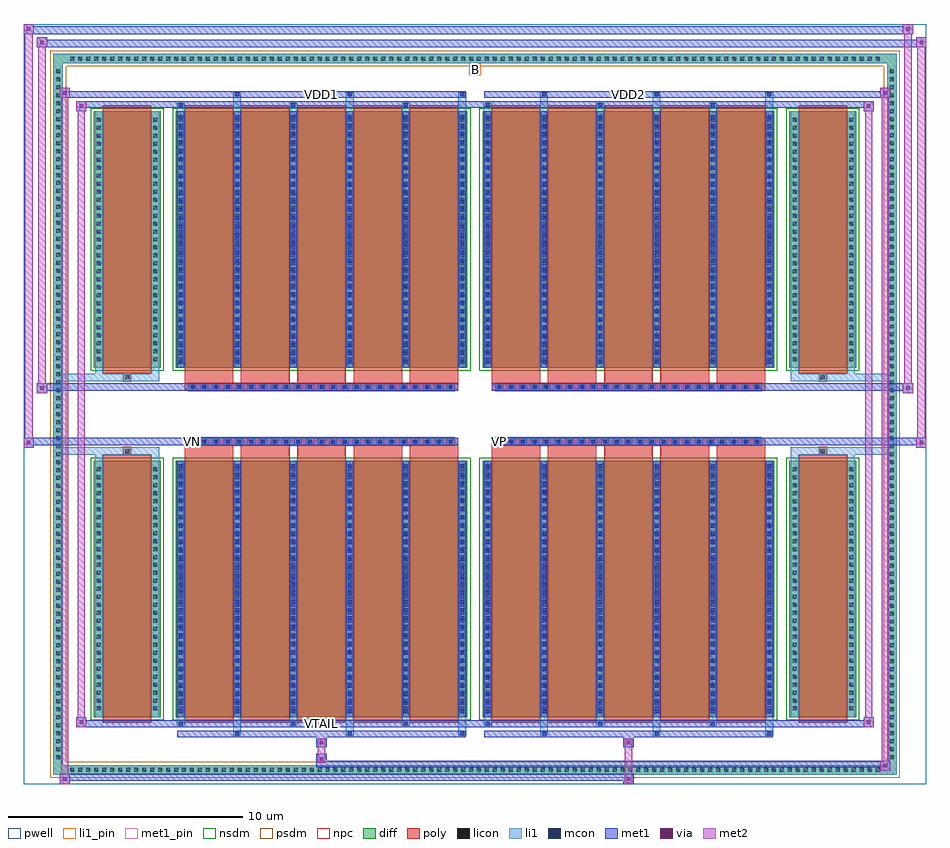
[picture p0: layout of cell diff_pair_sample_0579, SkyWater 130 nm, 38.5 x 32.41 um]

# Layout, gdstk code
import gdstk
lib = gdstk.Library(unit=1e-6, precision=5e-09)
def R(c, l, rs):  # rectangles x0, y0, x1, y1
    for r in rs: c.add(gdstk.rectangle(r[:2], r[2:], *l))
def A(c, l, x, y, w, h, nx, ny, dx, dy):  # array of equal rectangles
    R(c, l, [(x+i*dx, y+j*dy, x+i*dx+w, y+j*dy+h) for i in range(nx) for j in range(ny)])
def P(c, l, *ps):  # polygons
    for p in ps: c.add(gdstk.Polygon(p, *l))
pwell = (64, 44)
diff = (65, 20)
poly = (66, 20)
licon = (66, 44)
li1_pin = (67, 16)
li1 = (67, 20)
mcon = (67, 44)
met1_pin = (68, 16)
met1 = (68, 20)
via = (68, 44)
met2 = (69, 20)
nsdm = (93, 44)
psdm = (94, 20)
npc = (95, 20)

diff_pair_sample_0579 = lib.new_cell('diff_pair_sample_0579')
R(diff_pair_sample_0579, pwell, [(-19.25,-15.77,19.25,16.64), (-16.57,-13.96,-0.01,-0.8), (0.01,-13.96,16.57,-0.8), (-16.57,0.8,-0.01,13.96), (0.01,0.8,16.57,13.96)])
A(diff_pair_sample_0579, diff, -17.375, -15.37, 0.41, 0.41, 102, 2, 0.34, 30.33)
A(diff_pair_sample_0579, diff, -17.98, -14.825, 0.41, 0.41, 1, 87, 0, 0.34)
A(diff_pair_sample_0579, diff, 17.57, -14.825, 0.41, 0.41, 1, 87, 0, 0.34)
R(diff_pair_sample_0579, diff, [(-17.375,-15.37,17.375,-14.96), (-17.98,-14.825,-17.57,14.825), (17.57,-14.825,17.98,14.825), (-16.26,-12.915,-13.41,-1.985), (-12.77,-12.915,-0.32,-1.985), (0.32,-12.915,12.77,-1.985), (13.41,-12.915,16.26,-1.985), (-16.26,1.985,-13.41,12.915), (-12.77,1.985,-0.32,12.915), (0.32,1.985,12.77,12.915), (13.41,1.985,16.26,12.915), (-17.375,14.96,17.375,15.37)])
P(diff_pair_sample_0579, diff, [(17.98,15.37),(-17.98,15.37),(-17.98,-14.96),(-17.57,-14.96),(-17.57,14.96),(17.57,14.96),(17.57,-14.96),(-17.57,-14.96),(-17.98,-14.96),(-17.98,-15.37),(17.98,-15.37)])
A(diff_pair_sample_0579, poly, -12.38, -13.165, 2.07, 11.43, 5, 2, 2.4, 14.9)
A(diff_pair_sample_0579, poly, 0.71, -13.165, 2.07, 11.43, 5, 2, 2.4, 14.9)
A(diff_pair_sample_0579, poly, -12.38, -1.735, 2.07, 0.405, 5, 2, 2.4, 3.065)
A(diff_pair_sample_0579, poly, 0.71, -1.735, 2.07, 0.405, 5, 2, 2.4, 3.065)
A(diff_pair_sample_0579, poly, -12.21, -1.33, 0.33, 0.33, 23, 2, 0.5, 2.33)
A(diff_pair_sample_0579, poly, 0.88, -1.33, 0.33, 0.33, 23, 2, 0.5, 2.33)
R(diff_pair_sample_0579, poly, [(-15.87,-13.165,-13.8,-1.735), (13.8,-13.165,15.87,-1.735), (-15,-1.735,-14.67,-1.405), (-15,-1.735,-14.67,-1.405), (14.67,-1.735,15,-1.405), (14.67,-1.735,15,-1.405), (-12.38,-1.33,-0.71,-1), (0.71,-1.33,12.38,-1), (-12.38,1,-0.71,1.33), (0.71,1,12.38,1.33), (-15,1.405,-14.67,1.735), (-15,1.405,-14.67,1.735), (14.67,1.405,15,1.735), (14.67,1.405,15,1.735), (-15.87,1.735,-13.8,13.165), (13.8,1.735,15.87,13.165)])
A(diff_pair_sample_0579, licon, -17.255, -15.25, 0.17, 0.17, 102, 2, 0.34, 30.33)
A(diff_pair_sample_0579, licon, -17.86, -14.705, 0.17, 0.17, 1, 87, 0, 0.34)
A(diff_pair_sample_0579, licon, 17.69, -14.705, 0.17, 0.17, 1, 87, 0, 0.34)
A(diff_pair_sample_0579, licon, -16.12, -12.635, 0.17, 0.17, 1, 31, 0, 0.34)
A(diff_pair_sample_0579, licon, -13.72, -12.635, 0.17, 0.17, 1, 31, 0, 0.34)
A(diff_pair_sample_0579, licon, -12.63, -12.635, 0.17, 0.17, 6, 31, 2.4, 0.34)
A(diff_pair_sample_0579, licon, 0.46, -12.635, 0.17, 0.17, 6, 31, 2.4, 0.34)
A(diff_pair_sample_0579, licon, 13.55, -12.635, 0.17, 0.17, 1, 31, 0, 0.34)
A(diff_pair_sample_0579, licon, 15.95, -12.635, 0.17, 0.17, 1, 31, 0, 0.34)
A(diff_pair_sample_0579, licon, -12.13, -1.25, 0.17, 0.17, 23, 2, 0.5, 2.33)
A(diff_pair_sample_0579, licon, 0.96, -1.25, 0.17, 0.17, 23, 2, 0.5, 2.33)
A(diff_pair_sample_0579, licon, -16.12, 2.265, 0.17, 0.17, 1, 31, 0, 0.34)
A(diff_pair_sample_0579, licon, -13.72, 2.265, 0.17, 0.17, 1, 31, 0, 0.34)
A(diff_pair_sample_0579, licon, -12.63, 2.265, 0.17, 0.17, 6, 31, 2.4, 0.34)
A(diff_pair_sample_0579, licon, 0.46, 2.265, 0.17, 0.17, 6, 31, 2.4, 0.34)
A(diff_pair_sample_0579, licon, 13.55, 2.265, 0.17, 0.17, 1, 31, 0, 0.34)
A(diff_pair_sample_0579, licon, 15.95, 2.265, 0.17, 0.17, 1, 31, 0, 0.34)
R(diff_pair_sample_0579, licon, [(-14.92,-1.655,-14.75,-1.485), (14.75,-1.655,14.92,-1.485), (-14.92,1.485,-14.75,1.655), (14.75,1.485,14.92,1.655)])
R(diff_pair_sample_0579, li1_pin, [(-0.25,14.46,0.25,14.96)])
A(diff_pair_sample_0579, li1, -17.335, -15.33, 0.33, 0.33, 102, 2, 0.34, 30.33)
A(diff_pair_sample_0579, li1, -17.94, -14.785, 0.33, 0.33, 1, 87, 0, 0.34)
A(diff_pair_sample_0579, li1, 17.61, -14.785, 0.33, 0.33, 1, 87, 0, 0.34)
A(diff_pair_sample_0579, li1, -10.31, -13.72, 0.33, 0.805, 3, 2, 4.8, 26.635)
A(diff_pair_sample_0579, li1, -10.23, -13.72, 0.17, 0.17, 3, 2, 4.8, 27.27)
A(diff_pair_sample_0579, li1, 2.78, -13.72, 0.33, 0.805, 3, 2, 4.8, 26.635)
A(diff_pair_sample_0579, li1, 2.86, -13.72, 0.17, 0.17, 3, 2, 4.8, 27.27)
A(diff_pair_sample_0579, li1, -12.71, -13.29, 0.33, 0.375, 3, 2, 4.8, 26.205)
A(diff_pair_sample_0579, li1, -12.63, -13.29, 0.17, 0.17, 3, 2, 4.8, 26.41)
A(diff_pair_sample_0579, li1, 0.38, -13.29, 0.33, 0.375, 3, 2, 4.8, 26.205)
A(diff_pair_sample_0579, li1, 0.46, -13.29, 0.17, 0.17, 3, 2, 4.8, 26.41)
A(diff_pair_sample_0579, li1, -12.71, -12.915, 0.33, 10.93, 6, 2, 2.4, 14.9)
A(diff_pair_sample_0579, li1, 0.38, -12.915, 0.33, 10.93, 6, 2, 2.4, 14.9)
A(diff_pair_sample_0579, li1, -12.63, -12.755, 0.17, 0.17, 6, 30, 2.4, 0.36)
A(diff_pair_sample_0579, li1, -12.63, -12.755, 0.17, 10.61, 6, 2, 2.4, 14.9)
A(diff_pair_sample_0579, li1, 0.46, -12.755, 0.17, 0.17, 6, 30, 2.4, 0.36)
A(diff_pair_sample_0579, li1, 0.46, -12.755, 0.17, 10.61, 6, 2, 2.4, 14.9)
A(diff_pair_sample_0579, li1, -16.2, -12.715, 0.33, 0.33, 1, 31, 0, 0.34)
A(diff_pair_sample_0579, li1, -13.8, -12.715, 0.33, 0.33, 1, 31, 0, 0.34)
A(diff_pair_sample_0579, li1, -12.71, -12.715, 0.33, 0.33, 6, 31, 2.4, 0.34)
A(diff_pair_sample_0579, li1, 0.38, -12.715, 0.33, 0.33, 6, 31, 2.4, 0.34)
A(diff_pair_sample_0579, li1, 13.47, -12.715, 0.33, 0.33, 1, 31, 0, 0.34)
A(diff_pair_sample_0579, li1, 15.87, -12.715, 0.33, 0.33, 1, 31, 0, 0.34)
A(diff_pair_sample_0579, li1, -12.21, -1.33, 0.33, 0.33, 23, 2, 0.5, 2.33)
A(diff_pair_sample_0579, li1, 0.88, -1.33, 0.33, 0.33, 23, 2, 0.5, 2.33)
A(diff_pair_sample_0579, li1, -12.63, 2.145, 0.17, 0.17, 6, 30, 2.4, 0.36)
A(diff_pair_sample_0579, li1, 0.46, 2.145, 0.17, 0.17, 6, 30, 2.4, 0.36)
A(diff_pair_sample_0579, li1, -16.2, 2.185, 0.33, 0.33, 1, 31, 0, 0.34)
A(diff_pair_sample_0579, li1, -13.8, 2.185, 0.33, 0.33, 1, 31, 0, 0.34)
A(diff_pair_sample_0579, li1, -12.71, 2.185, 0.33, 0.33, 6, 31, 2.4, 0.34)
A(diff_pair_sample_0579, li1, 0.38, 2.185, 0.33, 0.33, 6, 31, 2.4, 0.34)
A(diff_pair_sample_0579, li1, 13.47, 2.185, 0.33, 0.33, 1, 31, 0, 0.34)
A(diff_pair_sample_0579, li1, 15.87, 2.185, 0.33, 0.33, 1, 31, 0, 0.34)
R(diff_pair_sample_0579, li1, [(-17.98,-15.37,-17.57,-14.96), (-17.98,-15.37,-17.57,-14.96), (-17.57,-15.37,17.57,-14.96), (17.57,-15.37,17.98,-14.96), (17.57,-15.37,17.98,-14.96), (-17.98,-14.96,-17.57,14.96), (17.57,-14.96,17.98,14.96), (-16.2,-12.915,-15.87,-1.985), (-13.8,-12.915,-13.47,-1.985), (13.47,-12.915,13.8,-1.985), (15.87,-12.915,16.2,-1.985), (-16.2,-1.985,-15.87,-1.405), (-13.8,-1.985,-13.47,-1.405), (13.47,-1.985,13.8,-1.405), (15.87,-1.985,16.2,-1.405), (-17.98,-1.735,-15,-1.405), (-16.2,-1.735,-15,-1.405), (-15,-1.735,-14.67,-1.405), (-14.67,-1.735,-13.47,-1.405), (13.47,-1.735,14.67,-1.405), (14.67,-1.735,15,-1.405), (14.67,-1.735,17.98,-1.405), (15,-1.735,16.2,-1.405), (-17.98,1.405,-15,1.735), (-16.2,1.405,-15,1.735), (-16.2,1.405,-15.87,1.985), (-15,1.405,-14.67,1.735), (-14.67,1.405,-13.47,1.735), (-13.8,1.405,-13.47,1.985), (13.47,1.405,14.67,1.735), (13.47,1.405,13.8,1.985), (14.67,1.405,15,1.735), (14.67,1.405,17.98,1.735), (15,1.405,16.2,1.735), (15.87,1.405,16.2,1.985), (-16.2,1.985,-15.87,12.915), (-13.8,1.985,-13.47,12.915), (13.47,1.985,13.8,12.915), (15.87,1.985,16.2,12.915), (-17.98,14.96,-17.57,15.37), (-17.98,14.96,-17.57,15.37), (-17.57,14.96,17.57,15.37), (17.57,14.96,17.98,15.37), (17.57,14.96,17.98,15.37)])
A(diff_pair_sample_0579, mcon, -10.23, -13.72, 0.17, 0.17, 3, 2, 4.8, 27.27)
A(diff_pair_sample_0579, mcon, 2.86, -13.72, 0.17, 0.17, 3, 2, 4.8, 27.27)
A(diff_pair_sample_0579, mcon, -12.63, -13.29, 0.17, 0.17, 3, 2, 4.8, 26.41)
A(diff_pair_sample_0579, mcon, 0.46, -13.29, 0.17, 0.17, 3, 2, 4.8, 26.41)
A(diff_pair_sample_0579, mcon, -12.63, -12.755, 0.17, 0.17, 6, 30, 2.4, 0.36)
A(diff_pair_sample_0579, mcon, 0.46, -12.755, 0.17, 0.17, 6, 30, 2.4, 0.36)
A(diff_pair_sample_0579, mcon, -12.13, -1.25, 0.17, 0.17, 23, 2, 0.5, 2.33)
A(diff_pair_sample_0579, mcon, 0.96, -1.25, 0.17, 0.17, 23, 2, 0.5, 2.33)
A(diff_pair_sample_0579, mcon, -12.63, 2.145, 0.17, 0.17, 6, 30, 2.4, 0.36)
A(diff_pair_sample_0579, mcon, 0.46, 2.145, 0.17, 0.17, 6, 30, 2.4, 0.36)
R(diff_pair_sample_0579, met1_pin, [(-6.68,-13.33,-6.41,-13.06), (-12.18,-1.29,-11.91,-1.02), (0.91,-1.29,1.18,-1.02), (-6.68,13.51,-6.41,13.78), (6.41,13.51,6.68,13.78)])
A(diff_pair_sample_0579, met1, -10.29, -13.78, 0.29, 0.29, 3, 2, 4.8, 27.27)
A(diff_pair_sample_0579, met1, 2.8, -13.78, 0.29, 0.29, 3, 2, 4.8, 27.27)
A(diff_pair_sample_0579, met1, -12.69, -13.35, 0.29, 0.29, 3, 2, 4.8, 26.41)
A(diff_pair_sample_0579, met1, 0.4, -13.35, 0.29, 0.29, 3, 2, 4.8, 26.41)
A(diff_pair_sample_0579, met1, -12.69, -12.915, 0.29, 10.93, 6, 2, 2.4, 14.9)
A(diff_pair_sample_0579, met1, 0.4, -12.915, 0.29, 10.93, 6, 2, 2.4, 14.9)
A(diff_pair_sample_0579, met1, -12.69, -12.815, 0.29, 0.29, 6, 30, 2.4, 0.36)
A(diff_pair_sample_0579, met1, 0.4, -12.815, 0.29, 0.29, 6, 30, 2.4, 0.36)
A(diff_pair_sample_0579, met1, -12.19, -1.31, 0.29, 0.29, 23, 2, 0.5, 2.33)
A(diff_pair_sample_0579, met1, 0.9, -1.31, 0.29, 0.29, 23, 2, 0.5, 2.33)
A(diff_pair_sample_0579, met1, -12.69, 2.085, 0.29, 0.29, 6, 30, 2.4, 0.36)
A(diff_pair_sample_0579, met1, 0.4, 2.085, 0.29, 0.29, 6, 30, 2.4, 0.36)
R(diff_pair_sample_0579, met1, [(-17.71,-15.77,-17.28,-15.34), (6.33,-15.77,6.76,-15.34), (-17.71,-15.63,6.76,-15.34), (17.28,-15.2,17.71,-14.77), (-6.76,-15.06,17.71,-14.77), (-6.76,-14.92,-6.33,-14.49), (-6.76,-14.21,-6.33,-13.78), (6.33,-14.21,6.76,-13.78), (-12.69,-13.78,-0.4,-13.49), (0.4,-13.78,12.69,-13.49), (-17,-13.35,-16.57,-12.92), (-17,-13.35,-12.69,-13.06), (-12.69,-13.35,-0.4,-13.06), (-0.4,-13.35,0.4,-13.06), (0.4,-13.35,12.69,-13.06), (12.69,-13.35,17,-13.06), (16.57,-13.35,17,-12.92), (-19.25,-1.43,-18.82,-1), (18.82,-1.43,19.25,-1), (-19.25,-1.33,-0.71,-1), (-12.38,-1.33,-0.71,-1), (0.71,-1.33,12.38,-1), (0.71,-1.33,19.25,-1), (-18.68,0.9,-18.25,1.33), (18.25,0.9,18.68,1.33), (-18.68,1,-12.38,1.33), (-12.38,1,-0.71,1.33), (0.71,1,12.38,1.33), (12.38,1,18.68,1.33), (-17,12.92,-16.57,13.35), (16.57,12.92,17,13.35), (-17,13.06,-12.69,13.35), (-12.69,13.06,-0.4,13.35), (-0.4,13.06,0.4,13.35), (0.4,13.06,12.69,13.35), (12.69,13.06,17,13.35), (-17.71,13.49,-17.28,13.92), (-17.71,13.49,-12.69,13.78), (-12.69,13.49,-0.4,13.78), (0.4,13.49,12.69,13.78), (12.69,13.49,17.71,13.78), (17.28,13.49,17.71,13.92), (-18.68,15.64,-18.25,16.07), (-18.68,15.64,-16.57,15.97), (-16.57,15.64,16.57,15.97), (16.57,15.64,19.25,15.97), (18.82,15.64,19.25,16.07), (-19.25,16.21,-18.82,16.64), (-19.25,16.21,-16.57,16.54), (-16.57,16.21,16.57,16.54), (16.57,16.21,18.68,16.54), (18.25,16.21,18.68,16.64)])
R(diff_pair_sample_0579, via, [(-17.57,-15.63,-17.42,-15.48), (6.47,-15.63,6.62,-15.48), (17.42,-15.06,17.57,-14.91), (-6.62,-14.78,-6.47,-14.63), (-6.62,-14.07,-6.47,-13.92), (6.47,-14.07,6.62,-13.92), (-16.86,-13.21,-16.71,-13.06), (16.71,-13.21,16.86,-13.06), (-19.11,-1.29,-18.96,-1.14), (18.96,-1.29,19.11,-1.14), (-18.54,1.04,-18.39,1.19), (18.39,1.04,18.54,1.19), (-16.86,13.06,-16.71,13.21), (16.71,13.06,16.86,13.21), (-17.57,13.63,-17.42,13.78), (17.42,13.63,17.57,13.78), (-18.54,15.78,-18.39,15.93), (18.96,15.78,19.11,15.93), (-19.11,16.35,-18.96,16.5), (18.39,16.35,18.54,16.5)])
R(diff_pair_sample_0579, met2, [(-17.71,-15.77,-17.28,-15.34), (-17.64,-15.77,-17.35,13.92), (-17.35,-15.77,-17.28,-15.34), (-17.66,-15.72,-17.33,-15.39), (6.38,-15.72,6.71,-15.39), (6.38,-15.39,6.71,-14.16), (17.28,-15.2,17.71,-14.77), (17.35,-15.2,17.64,13.92), (17.64,-15.2,17.71,-14.77), (17.33,-15.15,17.66,-14.82), (-6.71,-14.87,-6.38,-14.54), (-6.71,-14.54,-6.38,-14.16), (-6.71,-14.16,-6.38,-13.83), (6.38,-14.16,6.71,-13.83), (-17,-13.35,-16.57,-12.92), (-16.93,-13.35,-16.64,13.35), (-16.64,-13.35,-16.57,-12.92), (16.57,-13.35,17,-12.92), (16.64,-13.35,16.93,13.35), (16.93,-13.35,17,-12.92), (-16.95,-13.3,-16.62,-12.97), (16.62,-13.3,16.95,-12.97), (-19.25,-1.43,-18.82,-1), (-19.2,-1.43,-18.87,16.64), (-18.87,-1.43,-18.82,-1), (18.82,-1.43,19.25,-1), (18.87,-1.43,19.2,16.07), (19.2,-1.43,19.25,-1), (-19.2,-1.38,-18.87,-1.05), (18.87,-1.38,19.2,-1.05), (-18.68,0.9,-18.25,1.33), (-18.63,0.9,-18.3,16.07), (-18.3,0.9,-18.25,1.33), (18.25,0.9,18.68,1.33), (18.3,0.9,18.63,16.64), (18.63,0.9,18.68,1.33), (-18.63,0.95,-18.3,1.28), (18.3,0.95,18.63,1.28), (-17,12.92,-16.57,13.35), (-16.64,12.92,-16.57,13.35), (16.57,12.92,17,13.35), (16.93,12.92,17,13.35), (-16.95,12.97,-16.62,13.3), (16.62,12.97,16.95,13.3), (-17.71,13.49,-17.28,13.92), (-17.35,13.49,-17.28,13.92), (17.28,13.49,17.71,13.92), (17.64,13.49,17.71,13.92), (-17.66,13.54,-17.33,13.87), (17.33,13.54,17.66,13.87), (-18.68,15.64,-18.25,16.07), (-18.3,15.64,-18.25,16.07), (18.82,15.64,19.25,16.07), (19.2,15.64,19.25,16.07), (-18.63,15.69,-18.3,16.02), (18.87,15.69,19.2,16.02), (-19.25,16.21,-18.82,16.64), (-18.87,16.21,-18.82,16.64), (18.25,16.21,18.68,16.64), (18.63,16.21,18.68,16.64), (-19.2,16.26,-18.87,16.59), (18.3,16.26,18.63,16.59)])
R(diff_pair_sample_0579, nsdm, [(-16.39,-13.045,-13.28,-1.855), (-12.9,-13.045,-0.19,-1.855), (0.19,-13.045,12.9,-1.855), (13.28,-13.045,16.39,-1.855), (-16.39,1.855,-13.28,13.045), (-12.9,1.855,-0.19,13.045), (0.19,1.855,12.9,13.045), (13.28,1.855,16.39,13.045)])
P(diff_pair_sample_0579, psdm, [(18.11,15.5),(-18.11,15.5),(-18.11,-14.83),(-17.44,-14.83),(-17.44,14.83),(17.44,14.83),(17.44,-14.83),(-17.44,-14.83),(-18.11,-14.83),(-18.11,-15.5),(18.11,-15.5)])
A(diff_pair_sample_0579, npc, -12.23, -1.35, 0.37, 0.37, 23, 2, 0.5, 2.33)
A(diff_pair_sample_0579, npc, 0.86, -1.35, 0.37, 0.37, 23, 2, 0.5, 2.33)
R(diff_pair_sample_0579, npc, [(-15.02,-1.755,-14.65,-1.385), (14.65,-1.755,15.02,-1.385), (-12.23,-1.35,-11.36,-0.98), (-12.23,-1.35,-11.36,-0.98), (-11.73,-1.35,-10.86,-0.98), (-11.73,-1.35,-10.86,-0.98), (-11.23,-1.35,-10.36,-0.98), (-11.23,-1.35,-10.36,-0.98), (-10.73,-1.35,-9.86,-0.98), (-10.73,-1.35,-9.86,-0.98), (-10.23,-1.35,-9.36,-0.98), (-10.23,-1.35,-9.36,-0.98), (-9.73,-1.35,-8.86,-0.98), (-9.73,-1.35,-8.86,-0.98), (-9.23,-1.35,-8.36,-0.98), (-9.23,-1.35,-8.36,-0.98), (-8.73,-1.35,-7.86,-0.98), (-8.73,-1.35,-7.86,-0.98), (-8.23,-1.35,-7.36,-0.98), (-8.23,-1.35,-7.36,-0.98), (-7.73,-1.35,-6.86,-0.98), (-7.73,-1.35,-6.86,-0.98), (-7.23,-1.35,-6.36,-0.98), (-7.23,-1.35,-6.36,-0.98), (-6.73,-1.35,-5.86,-0.98), (-6.73,-1.35,-5.86,-0.98), (-6.23,-1.35,-5.36,-0.98), (-6.23,-1.35,-5.36,-0.98), (-5.73,-1.35,-4.86,-0.98), (-5.73,-1.35,-4.86,-0.98), (-5.23,-1.35,-4.36,-0.98), (-5.23,-1.35,-4.36,-0.98), (-4.73,-1.35,-3.86,-0.98), (-4.73,-1.35,-3.86,-0.98), (-4.23,-1.35,-3.36,-0.98), (-4.23,-1.35,-3.36,-0.98), (-3.73,-1.35,-2.86,-0.98), (-3.73,-1.35,-2.86,-0.98), (-3.23,-1.35,-2.36,-0.98), (-3.23,-1.35,-2.36,-0.98), (-2.73,-1.35,-1.86,-0.98), (-2.73,-1.35,-1.86,-0.98), (-2.23,-1.35,-1.36,-0.98), (-2.23,-1.35,-1.36,-0.98), (-1.73,-1.35,-0.86,-0.98), (-1.73,-1.35,-0.86,-0.98), (0.86,-1.35,1.73,-0.98), (0.86,-1.35,1.73,-0.98), (1.36,-1.35,2.23,-0.98), (1.36,-1.35,2.23,-0.98), (1.86,-1.35,2.73,-0.98), (1.86,-1.35,2.73,-0.98), (2.36,-1.35,3.23,-0.98), (2.36,-1.35,3.23,-0.98), (2.86,-1.35,3.73,-0.98), (2.86,-1.35,3.73,-0.98), (3.36,-1.35,4.23,-0.98), (3.36,-1.35,4.23,-0.98), (3.86,-1.35,4.73,-0.98), (3.86,-1.35,4.73,-0.98), (4.36,-1.35,5.23,-0.98), (4.36,-1.35,5.23,-0.98), (4.86,-1.35,5.73,-0.98), (4.86,-1.35,5.73,-0.98), (5.36,-1.35,6.23,-0.98), (5.36,-1.35,6.23,-0.98), (5.86,-1.35,6.73,-0.98), (5.86,-1.35,6.73,-0.98), (6.36,-1.35,7.23,-0.98), (6.36,-1.35,7.23,-0.98), (6.86,-1.35,7.73,-0.98), (6.86,-1.35,7.73,-0.98), (7.36,-1.35,8.23,-0.98), (7.36,-1.35,8.23,-0.98), (7.86,-1.35,8.73,-0.98), (7.86,-1.35,8.73,-0.98), (8.36,-1.35,9.23,-0.98), (8.36,-1.35,9.23,-0.98), (8.86,-1.35,9.73,-0.98), (8.86,-1.35,9.73,-0.98), (9.36,-1.35,10.23,-0.98), (9.36,-1.35,10.23,-0.98), (9.86,-1.35,10.73,-0.98), (9.86,-1.35,10.73,-0.98), (10.36,-1.35,11.23,-0.98), (10.36,-1.35,11.23,-0.98), (10.86,-1.35,11.73,-0.98), (10.86,-1.35,11.73,-0.98), (11.36,-1.35,12.23,-0.98), (11.36,-1.35,12.23,-0.98), (-12.23,0.98,-11.36,1.35), (-12.23,0.98,-11.36,1.35), (-11.73,0.98,-10.86,1.35), (-11.73,0.98,-10.86,1.35), (-11.23,0.98,-10.36,1.35), (-11.23,0.98,-10.36,1.35), (-10.73,0.98,-9.86,1.35), (-10.73,0.98,-9.86,1.35), (-10.23,0.98,-9.36,1.35), (-10.23,0.98,-9.36,1.35), (-9.73,0.98,-8.86,1.35), (-9.73,0.98,-8.86,1.35), (-9.23,0.98,-8.36,1.35), (-9.23,0.98,-8.36,1.35), (-8.73,0.98,-7.86,1.35), (-8.73,0.98,-7.86,1.35), (-8.23,0.98,-7.36,1.35), (-8.23,0.98,-7.36,1.35), (-7.73,0.98,-6.86,1.35), (-7.73,0.98,-6.86,1.35), (-7.23,0.98,-6.36,1.35), (-7.23,0.98,-6.36,1.35), (-6.73,0.98,-5.86,1.35), (-6.73,0.98,-5.86,1.35), (-6.23,0.98,-5.36,1.35), (-6.23,0.98,-5.36,1.35), (-5.73,0.98,-4.86,1.35), (-5.73,0.98,-4.86,1.35), (-5.23,0.98,-4.36,1.35), (-5.23,0.98,-4.36,1.35), (-4.73,0.98,-3.86,1.35), (-4.73,0.98,-3.86,1.35), (-4.23,0.98,-3.36,1.35), (-4.23,0.98,-3.36,1.35), (-3.73,0.98,-2.86,1.35), (-3.73,0.98,-2.86,1.35), (-3.23,0.98,-2.36,1.35), (-3.23,0.98,-2.36,1.35), (-2.73,0.98,-1.86,1.35), (-2.73,0.98,-1.86,1.35), (-2.23,0.98,-1.36,1.35), (-2.23,0.98,-1.36,1.35), (-1.73,0.98,-0.86,1.35), (-1.73,0.98,-0.86,1.35), (0.86,0.98,1.73,1.35), (0.86,0.98,1.73,1.35), (1.36,0.98,2.23,1.35), (1.36,0.98,2.23,1.35), (1.86,0.98,2.73,1.35), (1.86,0.98,2.73,1.35), (2.36,0.98,3.23,1.35), (2.36,0.98,3.23,1.35), (2.86,0.98,3.73,1.35), (2.86,0.98,3.73,1.35), (3.36,0.98,4.23,1.35), (3.36,0.98,4.23,1.35), (3.86,0.98,4.73,1.35), (3.86,0.98,4.73,1.35), (4.36,0.98,5.23,1.35), (4.36,0.98,5.23,1.35), (4.86,0.98,5.73,1.35), (4.86,0.98,5.73,1.35), (5.36,0.98,6.23,1.35), (5.36,0.98,6.23,1.35), (5.86,0.98,6.73,1.35), (5.86,0.98,6.73,1.35), (6.36,0.98,7.23,1.35), (6.36,0.98,7.23,1.35), (6.86,0.98,7.73,1.35), (6.86,0.98,7.73,1.35), (7.36,0.98,8.23,1.35), (7.36,0.98,8.23,1.35), (7.86,0.98,8.73,1.35), (7.86,0.98,8.73,1.35), (8.36,0.98,9.23,1.35), (8.36,0.98,9.23,1.35), (8.86,0.98,9.73,1.35), (8.86,0.98,9.73,1.35), (9.36,0.98,10.23,1.35), (9.36,0.98,10.23,1.35), (9.86,0.98,10.73,1.35), (9.86,0.98,10.73,1.35), (10.36,0.98,11.23,1.35), (10.36,0.98,11.23,1.35), (10.86,0.98,11.73,1.35), (10.86,0.98,11.73,1.35), (11.36,0.98,12.23,1.35), (11.36,0.98,12.23,1.35), (-15.02,1.385,-14.65,1.755), (14.65,1.385,15.02,1.755)])
diff_pair_sample_0579.add(gdstk.Label('VTAIL', (-6.545,-13.195), layer=68, texttype=5))
diff_pair_sample_0579.add(gdstk.Label('VN', (-12.045,-1.155), layer=68, texttype=5))
diff_pair_sample_0579.add(gdstk.Label('VP', (1.045,-1.155), layer=68, texttype=5))
diff_pair_sample_0579.add(gdstk.Label('B', (0,14.71), layer=67, texttype=5))
diff_pair_sample_0579.add(gdstk.Label('VDD2', (6.545,13.645), layer=68, texttype=5))
diff_pair_sample_0579.add(gdstk.Label('VDD1', (-6.545,13.645), layer=68, texttype=5))

lib.write_gds('diff_pair_sample_0579.gds')
